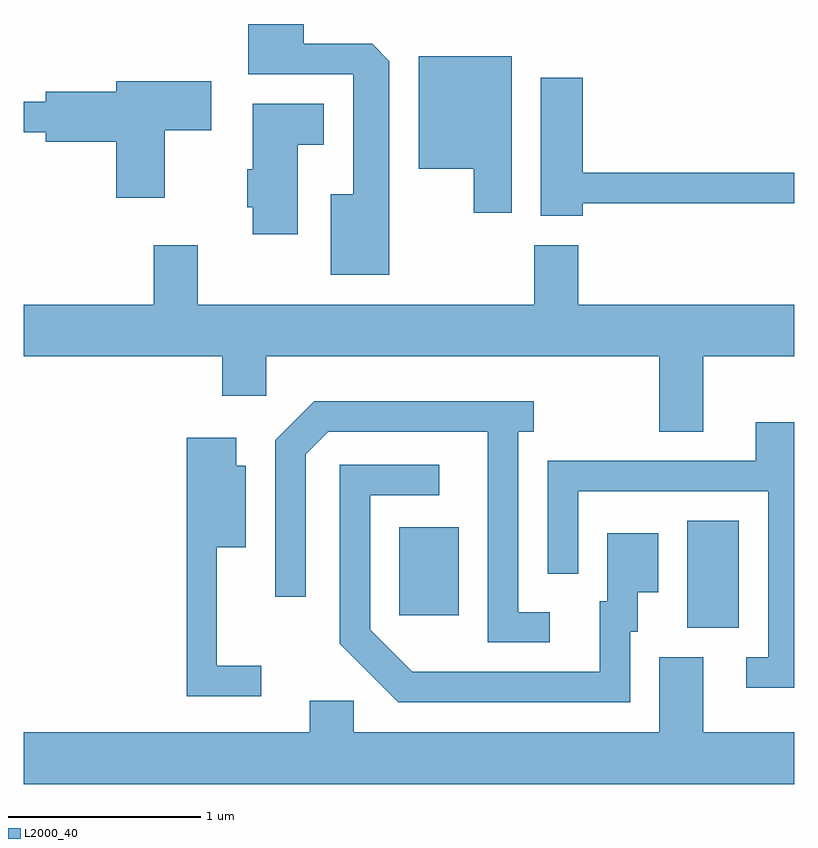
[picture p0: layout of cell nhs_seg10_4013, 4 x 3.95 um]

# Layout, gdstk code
import gdstk
lib = gdstk.Library(unit=1e-6, precision=1e-09)
def R(c, l, rs):  # rectangles x0, y0, x1, y1
    for r in rs: c.add(gdstk.rectangle(r[:2], r[2:], *l))
def P(c, l, *ps):  # polygons
    for p in ps: c.add(gdstk.Polygon(p, *l))
L2000_40 = (2000, 40)

nhs_seg10_4013 = lib.new_cell('nhs_seg10_4013')
R(nhs_seg10_4013, L2000_40, [(307.056,2121.386,307.324,2121.944), (305.561,2121.451,305.869,2121.909)])
P(nhs_seg10_4013, L2000_40, [(305.509,2124.329),(305.419,2124.419),(305.064,2124.419),(305.064,2124.522),(304.776,2124.522),(304.776,2124.261),(305.321,2124.261),(305.321,2123.639),(305.206,2123.639),(305.206,2123.221),(305.509,2123.221)],
  [(306.144,2124.354),(305.661,2124.354),(305.661,2123.771),(305.946,2123.771),(305.946,2123.541),(306.144,2123.541)],
  [(306.514,2123.591),(307.611,2123.591),(307.611,2123.749),(306.514,2123.749),(306.514,2124.244),(306.296,2124.244),(306.296,2123.526),(306.514,2123.526)],
  [(304.344,2123.971),(304.584,2123.971),(304.584,2124.224),(304.091,2124.224),(304.091,2124.169),(303.726,2124.169),(303.726,2124.119),(303.611,2124.119),(303.611,2123.961),(303.726,2123.961),(303.726,2123.911),(304.091,2123.911),(304.091,2123.621),(304.344,2123.621)],
  [(305.034,2123.896),(305.169,2123.896),(305.169,2124.109),(304.801,2124.109),(304.801,2123.769),(304.771,2123.769),(304.771,2123.571),(304.801,2123.571),(304.801,2123.431),(305.034,2123.431)],
  [(307.139,2122.796),(307.611,2122.796),(307.611,2123.064),(306.489,2123.064),(306.489,2123.374),(306.261,2123.374),(306.261,2123.064),(304.514,2123.064),(304.514,2123.374),(304.286,2123.374),(304.286,2123.064),(303.611,2123.064),(303.611,2122.796),(304.641,2122.796),(304.641,2122.591),(304.869,2122.591),(304.869,2122.796),(306.911,2122.796),(306.911,2122.406),(307.139,2122.406)],
  [(306.343,2121.469),(306.179,2121.469),(306.179,2122.406),(306.258,2122.406),(306.258,2122.564),(305.119,2122.564),(304.916,2122.362),(304.916,2121.548),(305.074,2121.548),(305.074,2122.289),(305.192,2122.406),(306.021,2122.406),(306.021,2121.311),(306.343,2121.311)],
  [(307.611,2122.454),(307.411,2122.454),(307.411,2122.254),(306.331,2122.254),(306.331,2121.668),(306.489,2121.668),(306.489,2122.096),(307.476,2122.096),(307.476,2121.234),(307.363,2121.234),(307.363,2121.076),(307.611,2121.076)],
  [(304.843,2121.189),(304.614,2121.189),(304.614,2121.806),(304.764,2121.806),(304.764,2122.229),(304.714,2122.229),(304.714,2122.374),(304.456,2122.374),(304.456,2121.031),(304.843,2121.031)],
  [(306.759,2121.366),(306.799,2121.366),(306.799,2121.571),(306.904,2121.571),(306.904,2121.879),(306.641,2121.879),(306.641,2121.524),(306.601,2121.524),(306.601,2121.159),(305.627,2121.159),(305.409,2121.377),(305.409,2122.076),(305.768,2122.076),(305.768,2122.234),(305.251,2122.234),(305.251,2121.304),(305.554,2121.001),(306.759,2121.001)],
  [(307.611,2120.844),(307.139,2120.844),(307.139,2121.234),(306.911,2121.234),(306.911,2120.844),(305.324,2120.844),(305.324,2121.009),(305.096,2121.009),(305.096,2120.844),(303.611,2120.844),(303.611,2120.576),(307.611,2120.576)])

lib.write_gds('nhs_seg10_4013.gds')
